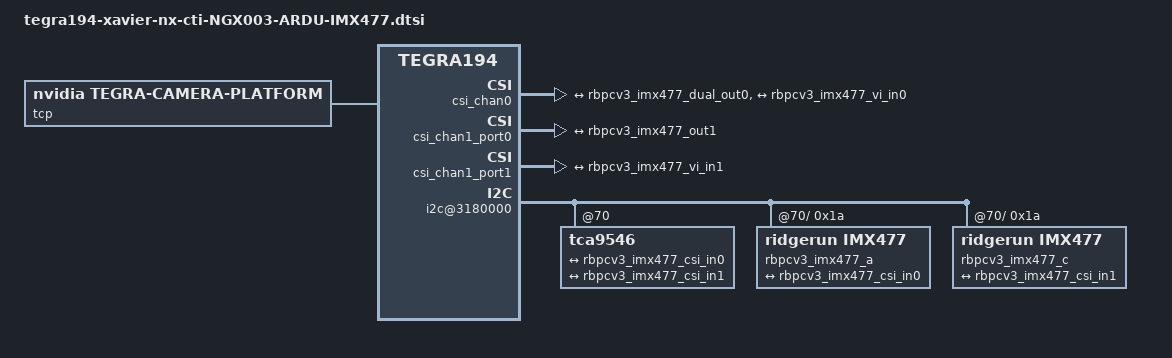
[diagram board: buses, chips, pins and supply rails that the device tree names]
/*
 * Copyright (c) 2018-2019, NVIDIA CORPORATION.  All rights reserved.
 *
 * This program is free software; you can redistribute it and/or modify
 * it under the terms of the GNU General Public License as published by
 * the Free Software Foundation; either version 2 of the License, or
 * (at your option) any later version.
 *
 * This program is distributed in the hope that it will be useful, but WITHOUT
 * ANY WARRANTY; without even the implied warranty of MERCHANTABILITY or
 * FITNESS FOR A PARTICULAR PURPOSE.  See the GNU General Public License for
 * more details.
 *
 * You should have received a copy of the GNU General Public License
 * along with this program.  If not, see <http://www.gnu.org/licenses/>.
 */


/* camera control gpio definitions */
/*
 * Copyright (c) 2018-2019, NVIDIA CORPORATION.  All rights reserved.
 *
 * This program is free software; you can redistribute it and/or modify
 * it under the terms of the GNU General Public License as published by
 * the Free Software Foundation; either version 2 of the License, or
 * (at your option) any later version.
 *
 * This program is distributed in the hope that it will be useful, but WITHOUT
 * ANY WARRANTY; without even the implied warranty of MERCHANTABILITY or
 * FITNESS FOR A PARTICULAR PURPOSE.  See the GNU General Public License for
 * more details.
 *
 * You should have received a copy of the GNU General Public License
 * along with this program.  If not, see <http://www.gnu.org/licenses/>.
 */

#include <dt-bindings/media/camera.h>

/ {
	host1x {
		vi@15c10000 {
			num-channels = <2>;
			status = "okay";
			ports {
				#address-cells = <1>;
				#size-cells = <0>;
				vi_port0: port@0 {
					status = "okay";
					reg = <0>;
					rbpcv3_imx477_vi_in0: endpoint {
						status = "okay";
						port-index = <0>;
						bus-width = <2>;
						remote-endpoint = <&rbpcv3_imx477_csi_out0>;
					};
				};
				vi_port1: port@1 {
					status = "okay";
					reg = <1>;
					rbpcv3_imx477_vi_in1: endpoint {
						status = "okay";
						port-index = <2>;
						bus-width = <2>;
						remote-endpoint = <&rbpcv3_imx477_csi_out1>;
					};
				};
			};
		};

		nvcsi@15a00000 {
			num-channels = <2>;
			#address-cells = <1>;
			#size-cells = <0>;
			csi_chan0: channel@0 {
				status = "okay";
				reg = <0>;
				ports {
					#address-cells = <1>;
					#size-cells = <0>;
					csi_chan0_port0: port@0 {
						status = "okay";
						reg = <0>;
						rbpcv3_imx477_csi_in0: endpoint@0 {
							status = "okay";
							port-index = <0>;
							bus-width = <2>;
							remote-endpoint = <&rbpcv3_imx477_dual_out0>;
						};
					};
					csi_chan0_port1: port@1 {
						status = "okay";
						reg = <1>;
						rbpcv3_imx477_csi_out0: endpoint@1 {
							remote-endpoint = <&rbpcv3_imx477_vi_in0>;
						};
					};
				};
			};
			csi_chan1: channel@1 {
				reg = <1>;
				ports {
					#address-cells = <1>;
					#size-cells = <0>;
					csi_chan1_port0: port@2 {
						status = "okay";
						reg = <0>;
						rbpcv3_imx477_csi_in1: endpoint@2 {
							status = "okay";
							port-index = <2>;
							bus-width = <2>;
							remote-endpoint = <&rbpcv3_imx477_out1>;
						};
					};
					csi_chan1_port1: port@3 {
						status = "okay";
						reg = <1>;
						rbpcv3_imx477_csi_out1: endpoint@3 {
							remote-endpoint = <&rbpcv3_imx477_vi_in1>;
						};
					};
				};
			};
		};
	};

	i2c@3180000 {
		tca9546@70 {
			
				i2c@0 {
					#address-cells = <1>;
					#size-cells = <0>;
					rbpcv3_imx477_a@1a {
						compatible = "ridgerun,imx477";
						/* I2C device address */
						reg = <0x1a>;

						/* V4L2 device node location */
						devnode = "video0";

						/* Physical dimensions of sensor */
						physical_w = "7.564";
						physical_h = "5.476";

						sensor_model = "imx477";

						use_sensor_mode_id = "true";
                        mode0 { /* IMX477_MODE_3840x2160 */
                                mclk_khz = "24000";
                                num_lanes = "2";
                                tegra_sinterface = "serial_a";
                                phy_mode = "DPHY";
                                discontinuous_clk = "no";
                                dpcm_enable = "false";
                                cil_settletime = "0";

                                active_w = "3840";
                                active_h = "2160";
                                mode_type = "bayer";
                                pixel_phase = "rggb";
                                csi_pixel_bit_depth = "10";
                                readout_orientation = "90";
                                line_length = "11200";
                                inherent_gain = "1";
                                mclk_multiplier = "80";
                                pix_clk_hz = "840000000";

                                gain_factor = "16";
                                framerate_factor = "1000000";
                                exposure_factor = "1000000";
                                min_gain_val = "16"; /* 1.00x */
                                max_gain_val = "356"; /* 22x */
                                step_gain_val = "1";
                                default_gain = "16"; /* 1.00x */
                                min_hdr_ratio = "1";
                                max_hdr_ratio = "1";
                                min_framerate = "2000000"; /* 2.0 fps */
                                max_framerate = "30000000"; /* 30.0 fps */
                                step_framerate = "1";
                                default_framerate = "30000000"; /* 30.0 fps */
                                min_exp_time = "13"; /* us */
                                max_exp_time = "683709"; /* us */
                                step_exp_time = "1";
                                default_exp_time = "2495"; /* us */

                                embedded_metadata_height = "2";
                        };
						mode1 { /* IMX477_MODE_1920X1080 */
							mclk_khz = "24000";
							num_lanes = "2";
							tegra_sinterface = "serial_a";
							phy_mode = "DPHY";
							discontinuous_clk = "no";
							dpcm_enable = "false";
							cil_settletime = "0";

							active_w = "1920";
							active_h = "1080";
							mode_type = "bayer";
							pixel_phase = "rggb";
							csi_pixel_bit_depth = "10";
							readout_orientation = "90";
							line_length = "9024";
							inherent_gain = "1";
							mclk_multiplier = "80";
							pix_clk_hz = "840000000";

							gain_factor = "16";
							framerate_factor = "1000000";
							exposure_factor = "1000000";
							min_gain_val = "16"; /* 1.00x */
							max_gain_val = "356"; /* 22x */
							step_gain_val = "1";
							default_gain = "16"; /* 1.00x */
							min_hdr_ratio = "1";
							max_hdr_ratio = "1";
							min_framerate = "2000000"; /* 2.0 fps */
							max_framerate = "60000000"; /* 60.0 fps */
							step_framerate = "1";
							default_framerate = "60000000"; /* 60.0 fps */
							min_exp_time = "13"; /* us */
							max_exp_time = "683709"; /* us */
							step_exp_time = "1";
							default_exp_time = "2495"; /* us */

							embedded_metadata_height = "2";
						};

						ports {
							#address-cells = <1>;
							#size-cells = <0>;

							port@0 {
								reg = <0>;
								rbpcv3_imx477_dual_out0: endpoint {
									port-index = <0>;
									bus-width = <2>;
									remote-endpoint = <&rbpcv3_imx477_csi_in0>;
								};
							};
						};
					};
				};
				
				i2c@1 {
					#address-cells = <1>;
					#size-cells = <0>;
					rbpcv3_imx477_c@1a {
						compatible = "ridgerun,imx477";
						/* I2C device address */
						reg = <0x1a>;

						/* V4L2 device node location */
						devnode = "video1";

						/* Physical dimensions of sensor */
						physical_w = "7.564";
						physical_h = "5.476";

						sensor_model = "imx477";

						use_sensor_mode_id = "true";

                        mode0 { /* IMX477_MODE_3840x2160 */
                            mclk_khz = "24000";
                            num_lanes = "2";
                            tegra_sinterface = "serial_c";
                            phy_mode = "DPHY";
                            discontinuous_clk = "no";
                            dpcm_enable = "false";
                            cil_settletime = "0";

                            active_w = "3840";
                            active_h = "2160";
                            mode_type = "bayer";
                            pixel_phase = "rggb";
                            csi_pixel_bit_depth = "10";
                            readout_orientation = "90";
                            line_length = "11200";
                            inherent_gain = "1";
                            mclk_multiplier = "80";
                            pix_clk_hz = "840000000";

                            gain_factor = "16";
                            framerate_factor = "1000000";
                            exposure_factor = "1000000";
                            min_gain_val = "16"; /* 1.00x */
                            max_gain_val = "356"; /* 22x */
                            step_gain_val = "1";
                            default_gain = "16"; /* 1.00x */
                            min_hdr_ratio = "1";
                            max_hdr_ratio = "1";
                            min_framerate = "2000000"; /* 2.0 fps */
                            max_framerate = "30000000"; /* 30.0 fps */
                            step_framerate = "1";
                            default_framerate = "30000000"; /* 30.0 fps */
                            min_exp_time = "13"; /* us */
                            max_exp_time = "683709"; /* us */
                            step_exp_time = "1";
                            default_exp_time = "2495"; /* us */

                            embedded_metadata_height = "2";
                        };
	
						mode1 { /* IMX477_MODE_1920X1080 */
							mclk_khz = "24000";
							num_lanes = "2";
							tegra_sinterface = "serial_c";
							phy_mode = "DPHY";
							discontinuous_clk = "no";
							dpcm_enable = "false";
							cil_settletime = "0";

							active_w = "1920";
							active_h = "1080";
							mode_type = "bayer";
							pixel_phase = "rggb";
							csi_pixel_bit_depth = "10";
							readout_orientation = "90";
							line_length = "9024";
							inherent_gain = "1";
							mclk_multiplier = "80";
							pix_clk_hz = "840000000";

							gain_factor = "16";
							framerate_factor = "1000000";
							exposure_factor = "1000000";
							min_gain_val = "16"; /* 1.00x */
							max_gain_val = "356"; /* 22x */
							step_gain_val = "1";
							default_gain = "16"; /* 1.00x */
							min_hdr_ratio = "1";
							max_hdr_ratio = "1";
							min_framerate = "2000000"; /* 2.0 fps */
							max_framerate = "60000000"; /* 60.0 fps */
							step_framerate = "1";
							default_framerate = "60000000"; /* 60.0 fps */
							min_exp_time = "13"; /* us */
							max_exp_time = "683709"; /* us */
							step_exp_time = "1";
							default_exp_time = "2495"; /* us */

							embedded_metadata_height = "2";
						};
						

						ports {
							#address-cells = <1>;
							#size-cells = <0>;

							port@0 {
								reg = <0>;
								rbpcv3_imx477_out1: endpoint {
									port-index = <2>;
									bus-width = <2>;
									remote-endpoint = <&rbpcv3_imx477_csi_in1>;
								};
							};
						};
					};
				};
			};
		};		
	
	
};

/ {
	tcp: tegra-camera-platform {
		compatible = "nvidia, tegra-camera-platform";

		/**
		* Physical settings to calculate max ISO BW
		*
		* num_csi_lanes = <>;
		* Total number of CSI lanes when all cameras are active
		*
		* max_lane_speed = <>;
		* Max lane speed in Kbit/s
		*
		* min_bits_per_pixel = <>;
		* Min bits per pixel
		*
		* vi_peak_byte_per_pixel = <>;
		* Max byte per pixel for the VI ISO case
		*
		* vi_bw_margin_pct = <>;
		* Vi bandwidth margin in percentage
		*
		* max_pixel_rate = <>;
		* Max pixel rate in Kpixel/s for the ISP ISO case
		*
		* isp_peak_byte_per_pixel = <>;
		* Max byte per pixel for the ISP ISO case
		*
		* isp_bw_margin_pct = <>;
		* Isp bandwidth margin in percentage
		*/
		num_csi_lanes = <4>;
		max_lane_speed = <1500000>;
		min_bits_per_pixel = <10>;
		vi_peak_byte_per_pixel = <2>;
		vi_bw_margin_pct = <25>;
		max_pixel_rate = <240000>;
		isp_peak_byte_per_pixel = <5>;
		isp_bw_margin_pct = <25>;

		/**
		 * The general guideline for naming badge_info contains 3 parts, and is as follows,
		 * The first part is the camera_board_id for the module; if the module is in a FFD
		 * platform, then use the platform name for this part.
		 * The second part contains the position of the module, ex. "rear" or "front".
		 * The third part contains the last 6 characters of a part number which is found
		 * in the module's specsheet from the vendor.
		 */
		modules {
			cam_module0: module0 {
				badge = "jakku_front_RBP194";
				position = "front";
				orientation = "1";
				status = "okay";
				cam_module0_drivernode0: drivernode0 {
					status = "okay";
					pcl_id = "v4l2_sensor";
					devname = "imx477 9-001a";
					proc-device-tree = "/proc/device-tree/i2c@3180000/tca9546@70/i2c@0/rbpcv3_imx477_a@1a";
				};
				
			};
			cam_module1: module1 {
				badge = "jakku_rear_RBP194";
				position = "rear";
				orientation = "1";
				status = "okay";
				cam_module1_drivernode0: drivernode0 {
					status = "okay";
					pcl_id = "v4l2_sensor";
					devname = "imx477 10-001a";
					proc-device-tree = "/proc/device-tree/i2c@3180000/tca9546@70/i2c@1/rbpcv3_imx477_c@1a";
				};
				
			};
		};
	};
};
